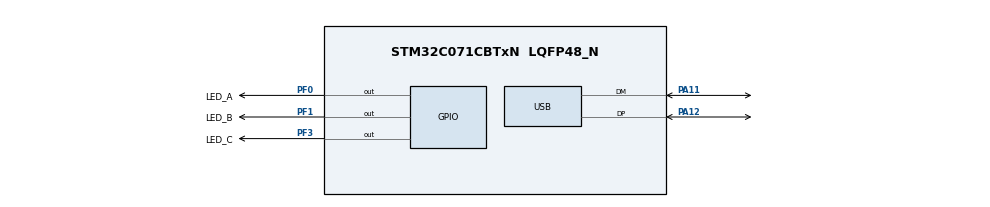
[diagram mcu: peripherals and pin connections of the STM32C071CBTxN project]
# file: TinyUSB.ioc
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Mcu.Family=STM32C0
Mcu.Name=STM32C071CBTxN
Mcu.Package=LQFP48_N
NVIC.USB_DRD_FS_IRQn=true\:0\:0\:false\:false\:true\:true\:true\:true
PA11\ [PA9].Mode=Device
PA11\ [PA9].Signal=USB_DM
PA12\ [PA10].Mode=Device
PA12\ [PA10].Signal=USB_DP
PF0-OSC_IN(PF0).GPIO_Label=LED_A
PF0-OSC_IN(PF0).Signal=GPIO_Output
PF1-OSC_OUT(PF1).GPIO_Label=LED_B
PF1-OSC_OUT(PF1).Signal=GPIO_Output
PF3.GPIO_Label=LED_C
PF3.Signal=GPIO_Output
ProjectManager.HeapSize=0x600
ProjectManager.StackSize=0x800
ProjectManager.TargetToolchain=STM32CubeIDE
RCC.ADCFreq_Value=48000000
RCC.AHBFreq_Value=48000000
RCC.APB1CLKDivider=RCC_APB1_DIV2
RCC.CortexFreq_Value=48000000
RCC.EXTERNAL_CLOCK_VALUE=12288000
RCC.HCLKFreq_Value=48000000
RCC.HSE_VALUE=8000000
RCC.HSI48_VALUE=48000000
RCC.HSISYSCLKDivider=RCC_HSI_DIV1
RCC.HSI_VALUE=48000000
RCC.LSE_VALUE=32768
RCC.SYSCLKFreq_VALUE=48000000
USB.VirtualMode=Device_Only
board=custom

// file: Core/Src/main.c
/* USER CODE BEGIN Header */
/**
 ******************************************************************************
 * @file           : main.c
 * @brief          : Main program body
 ******************************************************************************
 * @attention
 *
 * Copyright (c) 2026 STMicroelectronics.
 * All rights reserved.
 *
 * This software is licensed under terms that can be found in the LICENSE file
 * in the root directory of this software component.
 * If no LICENSE file comes with this software, it is provided AS-IS.
 *
 ******************************************************************************
 */
/* USER CODE END Header */
#include "main.h"

/* USER CODE BEGIN Includes */
#include "bsp/board_api.h"
#include "tusb.h"
/* USER CODE END Includes */

PCD_HandleTypeDef hpcd_USB_DRD_FS;

void SystemClock_Config (void);
static void MX_GPIO_Init (void);
static void MX_USB_PCD_Init (void);

/* USER CODE BEGIN 0 */

//--------------------------------------------------------------------+
// USB CDC
//--------------------------------------------------------------------+
void cdc_task (void)
{
  // connected() check for DTR bit
  // Most but not all terminal client set this when making connection
  // if ( tud_cdc_connected() )
  {
    // connected and there are data available
    if (tud_cdc_available ())
    {
      // read data
      char buf[64];
      uint32_t count = tud_cdc_read (buf, sizeof(buf));
      (void) count;

      // Echo back
      // Note: Skip echo by commenting out write() and write_flush()
      // for throughput test e.g
      //    $ dd if=/dev/zero of=/dev/ttyACM0 count=10000
      tud_cdc_write (buf, count);
      tud_cdc_write_flush ();
    }

    // Press on-board button to send Uart status notification
//    static cdc_notify_uart_state_t uart_state = {.value = 0};
//
//    static uint32_t btn_prev = 0;
//    const uint32_t  btn      = board_button_read();
//
//    if ((btn_prev == 0u) && (btn != 0u)) {
//      uart_state.dsr ^= 1;
//      uart_state.dcd ^= 1;
//      tud_cdc_notify_uart_state(&uart_state);
//    }
//    btn_prev = btn;
  }
}

size_t board_get_unique_id (uint8_t id[], size_t max_len)
{
  volatile uint32_t *stm32_uuid = (volatile uint32_t*) UID_BASE;
  //memcpy (id, "00000012", 8);
  id[0] = stm32_uuid[0];
  id[1] = stm32_uuid[1];
  id[2] = stm32_uuid[2];
  id[3] = stm32_uuid[3];
  id[4] = stm32_uuid[4];
  id[5] = stm32_uuid[5];
  id[6] = stm32_uuid[6];
  id[7] = stm32_uuid[7];
  id[8] = stm32_uuid[8];
  id[9] = stm32_uuid[9];
  id[10] = stm32_uuid[10];
  id[11] = stm32_uuid[11];
  id[12] = 0;
  id[13] = 0;
  id[14] = 0;
  id[15] = 0;
  return 16;
}

void tud_mount_cb (void)
{
  HAL_GPIO_WritePin (LED_C_GPIO_Port, LED_C_Pin, GPIO_PIN_SET);
}
void tud_umount_cb (void)
{
  HAL_GPIO_WritePin (LED_C_GPIO_Port, LED_C_Pin, GPIO_PIN_RESET);
}
/* USER CODE END 0 */

int main (void)
{

  /* USER CODE BEGIN 1 */
uint32_t main_cnt = 0;
  /* USER CODE END 1 */

  /* MCU Configuration--------------------------------------------------------*/

  /* Reset of all peripherals, Initializes the Flash interface and the Systick. */
  HAL_Init ();

  /* Configure the system clock */
  SystemClock_Config ();

  /* Initialize all configured peripherals */
  MX_GPIO_Init ();
  MX_USB_PCD_Init ();
  /* USER CODE BEGIN 2 */

  tusb_rhport_init_t dev_init = { .role = TUSB_ROLE_DEVICE, .speed =
      TUSB_SPEED_AUTO };
  tusb_init(BOARD_TUD_RHPORT, &dev_init);

  /* USER CODE END 2 */

  /* Infinite loop */
  /* USER CODE BEGIN WHILE */
  while (1)
  {
    tud_task (); // tinyusb device task

    cdc_task ();
    /* USER CODE END WHILE */

  }
}

void SystemClock_Config (void)
{
  RCC_OscInitTypeDef RCC_OscInitStruct = { 0 };
  RCC_ClkInitTypeDef RCC_ClkInitStruct = { 0 };

  __HAL_FLASH_SET_LATENCY(FLASH_LATENCY_1);

  /** Initializes the RCC Oscillators according to the specified parameters
   * in the RCC_OscInitTypeDef structure.
   */
  RCC_OscInitStruct.OscillatorType = RCC_OSCILLATORTYPE_HSI
      | RCC_OSCILLATORTYPE_HSI48;
  RCC_OscInitStruct.HSIState = RCC_HSI_ON;
  RCC_OscInitStruct.HSIDiv = RCC_HSI_DIV1;
  RCC_OscInitStruct.HSICalibrationValue = RCC_HSICALIBRATION_DEFAULT;
  RCC_OscInitStruct.HSI48State = RCC_HSI48_ON;

  if (HAL_RCC_OscConfig (&RCC_OscInitStruct) != HAL_OK)
  {
    Error_Handler ();
  }

  /** Initializes the CPU, AHB and APB buses clocks
   */
  RCC_ClkInitStruct.ClockType = RCC_CLOCKTYPE_HCLK | RCC_CLOCKTYPE_SYSCLK
      | RCC_CLOCKTYPE_PCLK1;
  RCC_ClkInitStruct.SYSCLKSource = RCC_SYSCLKSOURCE_HSI;
  RCC_ClkInitStruct.SYSCLKDivider = RCC_SYSCLK_DIV1;
  RCC_ClkInitStruct.AHBCLKDivider = RCC_HCLK_DIV1;
  RCC_ClkInitStruct.APB1CLKDivider = RCC_APB1_DIV2;

  if (HAL_RCC_ClockConfig (&RCC_ClkInitStruct, FLASH_LATENCY_1) != HAL_OK)
  {
    Error_Handler ();
  }
}

static void MX_USB_PCD_Init (void)
{

  hpcd_USB_DRD_FS.Instance = USB_DRD_FS;
  hpcd_USB_DRD_FS.Init.dev_endpoints = 8;
  hpcd_USB_DRD_FS.Init.speed = USBD_FS_SPEED;
  hpcd_USB_DRD_FS.Init.phy_itface = PCD_PHY_EMBEDDED;
  hpcd_USB_DRD_FS.Init.Sof_enable = DISABLE;
  hpcd_USB_DRD_FS.Init.low_power_enable = DISABLE;
  hpcd_USB_DRD_FS.Init.lpm_enable = DISABLE;
  hpcd_USB_DRD_FS.Init.battery_charging_enable = DISABLE;
  hpcd_USB_DRD_FS.Init.vbus_sensing_enable = DISABLE;
  hpcd_USB_DRD_FS.Init.bulk_doublebuffer_enable = DISABLE;
  hpcd_USB_DRD_FS.Init.iso_singlebuffer_enable = DISABLE;
  if (HAL_PCD_Init (&hpcd_USB_DRD_FS) != HAL_OK)
  {
    Error_Handler ();
  }

}

static void MX_GPIO_Init (void)
{
  GPIO_InitTypeDef GPIO_InitStruct = { 0 };

  /* GPIO Ports Clock Enable */
  __HAL_RCC_GPIOF_CLK_ENABLE();
  __HAL_RCC_GPIOA_CLK_ENABLE();

  /*Configure GPIO pin Output Level */
  HAL_GPIO_WritePin (GPIOF, LED_C_Pin | LED_A_Pin | LED_B_Pin, GPIO_PIN_RESET);

  /*Configure GPIO pins : LED_C_Pin LED_A_Pin LED_B_Pin */
  GPIO_InitStruct.Pin = LED_C_Pin | LED_A_Pin | LED_B_Pin;
  GPIO_InitStruct.Mode = GPIO_MODE_OUTPUT_PP;
  GPIO_InitStruct.Pull = GPIO_NOPULL;
  GPIO_InitStruct.Speed = GPIO_SPEED_FREQ_LOW;
  HAL_GPIO_Init (GPIOF, &GPIO_InitStruct);

}

void Error_Handler (void)
{
  /* USER CODE BEGIN Error_Handler_Debug */
  /* User can add his own implementation to report the HAL error return state */
  __disable_irq ();
  while (1)
  {
  }
  /* USER CODE END Error_Handler_Debug */
}
